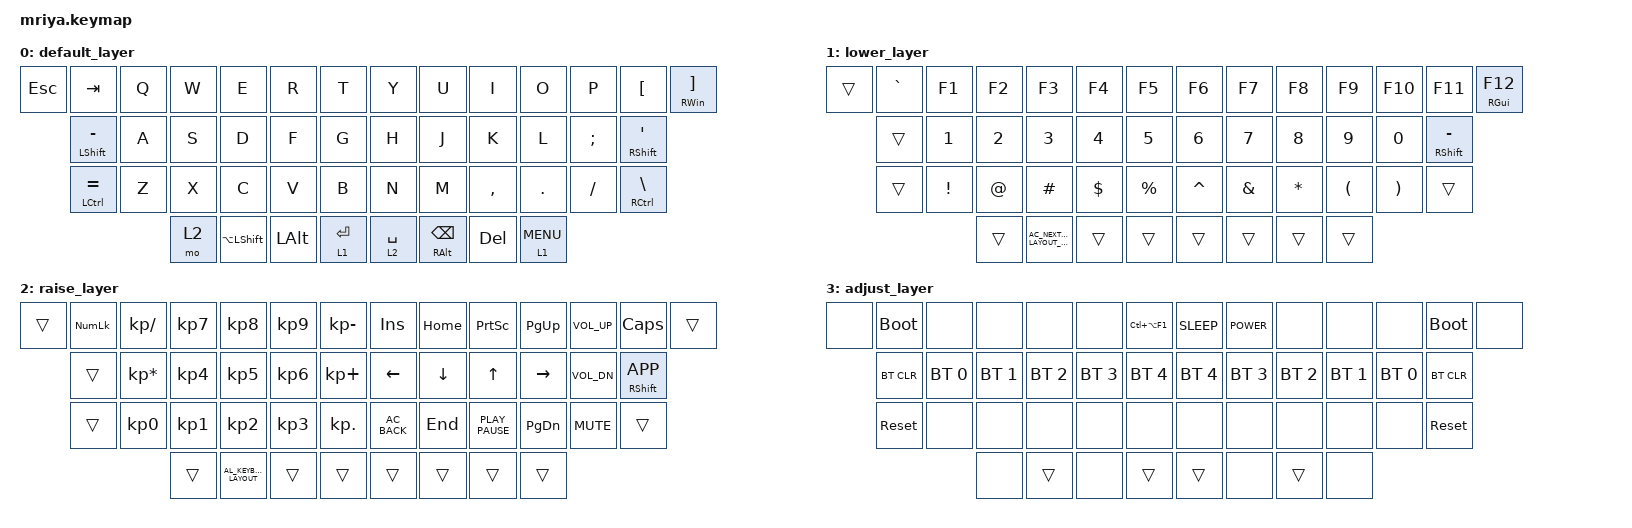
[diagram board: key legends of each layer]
/*
 * Copyright (c) 2023 Andrei Gaevskii
 *
 * SPDX-License-Identifier: MIT
 */

#include <behaviors.dtsi>
#include <dt-bindings/zmk/bt.h>
#include <dt-bindings/zmk/keys.h>

#define DEF 0
#define LWR 1
#define RSE 2
#define ADJ 3

&lt { quick_tap_ms = <200>; };

&mt { quick_tap_ms = <200>; };

/ {
    keymap {
        compatible = "zmk,keymap";

        default_layer {
            bindings = <
&kp ESCAPE  &kp TAB               &kp Q  &kp W  &kp E               &kp R         &kp T          &kp Y        &kp U               &kp I       &kp O         &kp P     &kp LBKT                &mt RWIN RBKT
            &mt LEFT_SHIFT MINUS  &kp A  &kp S  &kp D               &kp F         &kp G          &kp H        &kp J               &kp K       &kp L         &kp SEMI  &mt RIGHT_SHIFT SQT
            &mt LCTRL EQUAL       &kp Z  &kp X  &kp C               &kp V         &kp B          &kp N        &kp M               &kp COMMA   &kp DOT       &kp FSLH  &mt RIGHT_CONTROL BSLH
                                         &mo 2  &kp LA(LEFT_SHIFT)  &kp LEFT_ALT  &lt 1 ENTER    &lt 2 SPACE  &mt RALT BACKSPACE  &kp DELETE  &lt 1 C_MENU
            >;
        };

        lower_layer {
            bindings = <
&trans  &kp GRAVE  &kp F1    &kp F2       &kp F3                                &kp F4    &kp F5       &kp F6     &kp F7    &kp F8    &kp F9    &kp F10   &kp F11                &mt RGUI F12
        &trans     &kp N1    &kp N2       &kp N3                                &kp N4    &kp N5       &kp N6     &kp N7    &kp N8    &kp N9    &kp N0    &mt RIGHT_SHIFT MINUS
        &trans     &kp EXCL  &kp AT_SIGN  &kp HASH                              &kp DLLR  &kp PRCNT    &kp CARET  &kp AMPS  &kp STAR  &kp LPAR  &kp RPAR  &trans
                             &trans       &kp C_AC_NEXT_KEYBOARD_LAYOUT_SELECT  &trans    &trans       &trans     &trans    &trans    &trans
            >;
        };

        raise_layer {
            bindings = <
&trans  &kp KP_NUM  &kp KP_SLASH     &kp KP_N7  &kp KP_N8                 &kp KP_N9  &kp KP_MINUS    &kp INSERT     &kp HOME  &kp PSCRN         &kp PG_UP  &kp C_VOL_UP  &kp CAPS               &trans
        &trans      &kp KP_MULTIPLY  &kp KP_N4  &kp KP_N5                 &kp KP_N6  &kp KP_PLUS     &kp LEFT       &kp DOWN  &kp UP            &kp RIGHT  &kp C_VOL_DN  &mt RIGHT_SHIFT K_APP
        &trans      &kp KP_N0        &kp KP_N1  &kp KP_N2                 &kp KP_N3  &kp KP_DOT      &kp C_AC_BACK  &kp END   &kp K_PLAY_PAUSE  &kp PG_DN  &kp C_MUTE    &trans
                                     &trans     &kp C_AL_KEYBOARD_LAYOUT  &trans     &trans          &trans         &trans    &trans            &trans
            >;
        };

        adjust_layer {
            bindings = <
&none  &bootloader  &none         &none         &none         &none         &kp LC(LA(F1))    &kp K_SLEEP   &kp K_POWER   &none         &none         &none         &bootloader  &none
       &bt BT_CLR   &bt BT_SEL 0  &bt BT_SEL 1  &bt BT_SEL 2  &bt BT_SEL 3  &bt BT_SEL 4      &bt BT_SEL 4  &bt BT_SEL 3  &bt BT_SEL 2  &bt BT_SEL 1  &bt BT_SEL 0  &bt BT_CLR
       &sys_reset   &none         &none         &none         &none         &none             &none         &none         &none         &none         &none         &sys_reset
                                  &none         &trans        &none         &trans            &trans        &none         &trans        &none
            >;
        };
    };

    conditional_layers {
        compatible = "zmk,conditional-layers";

        activate_adjust_layer {
            if-layers = <1 2>;
            then-layer = <3>;
        };
    };
};
